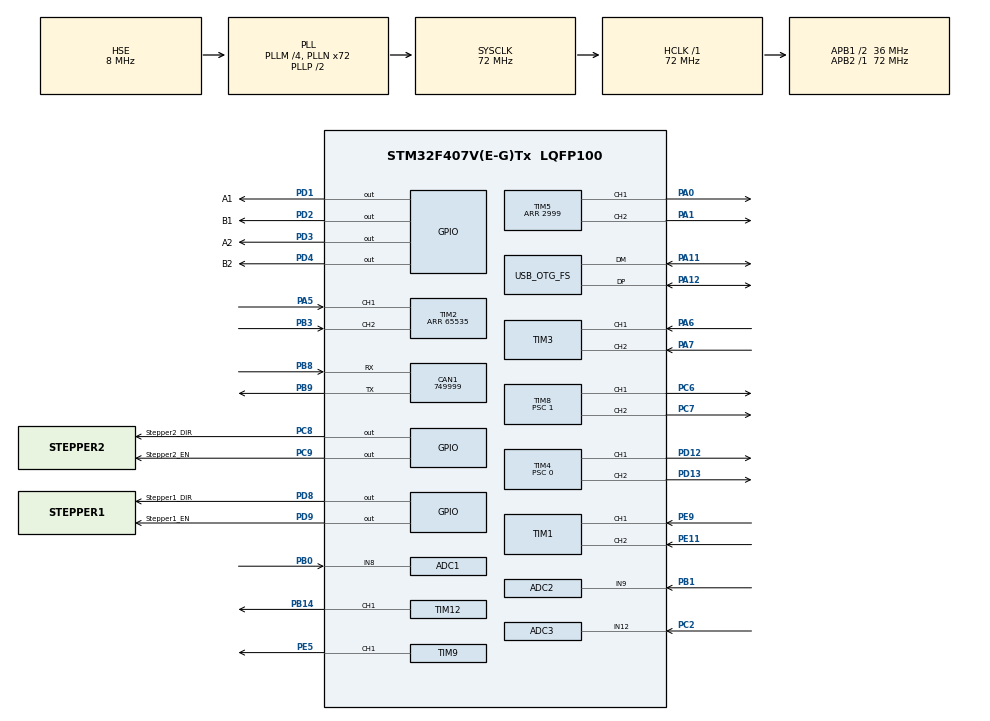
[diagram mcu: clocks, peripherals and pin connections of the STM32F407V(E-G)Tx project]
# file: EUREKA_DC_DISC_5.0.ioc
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ADC1.Channel-8\#ChannelRegularConversion=ADC_CHANNEL_8
ADC1.ContinuousConvMode=ENABLE
ADC1.DMAContinuousRequests=ENABLE
ADC1.NbrOfConversion=1
ADC1.NbrOfConversionFlag=1
ADC1.Rank-8\#ChannelRegularConversion=1
ADC1.SamplingTime-8\#ChannelRegularConversion=ADC_SAMPLETIME_3CYCLES
ADC1.master=1
ADC2.Channel-0\#ChannelRegularConversion=ADC_CHANNEL_9
ADC2.ContinuousConvMode=ENABLE
ADC2.DMAContinuousRequests=ENABLE
ADC2.NbrOfConversionFlag=1
ADC2.Rank-0\#ChannelRegularConversion=1
ADC2.SamplingTime-0\#ChannelRegularConversion=ADC_SAMPLETIME_3CYCLES
ADC2.ScanConvMode=ENABLE
ADC3.Channel-3\#ChannelRegularConversion=ADC_CHANNEL_12
ADC3.NbrOfConversionFlag=1
ADC3.Rank-3\#ChannelRegularConversion=1
ADC3.SamplingTime-3\#ChannelRegularConversion=ADC_SAMPLETIME_3CYCLES
CAN1.CalculateBaudRate=749999
CAN1.CalculateTimeBit=1333
CAN1.CalculateTimeQuantum=444.44444444444446
Dma.ADC1.0.Direction=DMA_PERIPH_TO_MEMORY
Dma.ADC1.0.FIFOMode=DMA_FIFOMODE_DISABLE
Dma.ADC1.0.Instance=DMA2_Stream0
Dma.ADC1.0.MemDataAlignment=DMA_MDATAALIGN_WORD
Dma.ADC1.0.MemInc=DMA_MINC_ENABLE
Dma.ADC1.0.Mode=DMA_CIRCULAR
Dma.ADC1.0.PeriphDataAlignment=DMA_PDATAALIGN_WORD
Dma.ADC1.0.PeriphInc=DMA_PINC_DISABLE
Dma.ADC1.0.Priority=DMA_PRIORITY_LOW
Dma.ADC2.1.Direction=DMA_PERIPH_TO_MEMORY
Dma.ADC2.1.FIFOMode=DMA_FIFOMODE_DISABLE
Dma.ADC2.1.Instance=DMA2_Stream2
Dma.ADC2.1.MemDataAlignment=DMA_MDATAALIGN_WORD
Dma.ADC2.1.MemInc=DMA_MINC_ENABLE
Dma.ADC2.1.Mode=DMA_CIRCULAR
Dma.ADC2.1.PeriphDataAlignment=DMA_PDATAALIGN_WORD
Dma.ADC2.1.PeriphInc=DMA_PINC_DISABLE
Dma.ADC2.1.Priority=DMA_PRIORITY_LOW
Dma.Request0=ADC1
Dma.Request1=ADC2
Mcu.Family=STM32F4
Mcu.Name=STM32F407V(E-G)Tx
Mcu.Package=LQFP100
NVIC.OTG_FS_IRQn=true\:0\:0\:false\:false\:true\:false\:true\:true
NVIC.PriorityGroup=NVIC_PRIORITYGROUP_0
NVIC.TIM7_IRQn=true\:0\:4\:false\:false\:true\:true\:true\:true
PA0-WKUP.Signal=S_TIM5_CH1
PA1.Signal=S_TIM5_CH2
PA11.Mode=Device_Only
PA11.Signal=USB_OTG_FS_DM
PA12.Mode=Device_Only
PA12.Signal=USB_OTG_FS_DP
PA13.GPIO_Label=SWDIO
PA13.Mode=Serial_Wire
PA13.Signal=SYS_JTMS-SWDIO
PA14.GPIO_Label=SWCLK
PA14.Mode=Serial_Wire
PA14.Signal=SYS_JTCK-SWCLK
PA5.Signal=S_TIM2_CH1_ETR
PA6.Signal=S_TIM3_CH1
PA7.Signal=S_TIM3_CH2
PB0.Signal=ADCx_IN8
PB1.Signal=ADCx_IN9
PB14.Signal=S_TIM12_CH1
PB3.Signal=S_TIM2_CH2
PB8.Mode=CAN_Activate
PB8.Signal=CAN1_RX
PB9.Mode=CAN_Activate
PB9.Signal=CAN1_TX
PC14-OSC32_IN.GPIO_Label=PC14-OSC32_IN
PC14-OSC32_IN.Mode=LSE-External-Oscillator
PC14-OSC32_IN.Signal=RCC_OSC32_IN
PC15-OSC32_OUT.GPIO_Label=PC15-OSC32_OUT
PC15-OSC32_OUT.Mode=LSE-External-Oscillator
PC15-OSC32_OUT.Signal=RCC_OSC32_OUT
PC2.Signal=ADCx_IN12
PC6.Signal=S_TIM8_CH1
PC7.Signal=S_TIM8_CH2
PC8.GPIO_Label=Stepper2_DIR
PC8.Signal=GPIO_Output
PC9.GPIO_Label=Stepper2_EN
PC9.Signal=GPIO_Output
PD1.GPIO_Label=A1
PD1.Signal=GPIO_Output
PD12.Signal=S_TIM4_CH1
PD13.Signal=S_TIM4_CH2
PD2.GPIO_Label=B1
PD2.Signal=GPIO_Output
PD3.GPIO_Label=A2
PD3.Signal=GPIO_Output
PD4.GPIO_Label=B2
PD4.Signal=GPIO_Output
PD8.GPIO_Label=Stepper1_DIR
PD8.Signal=GPIO_Output
PD9.GPIO_Label=Stepper1_EN
PD9.Signal=GPIO_Output
PE11.Signal=S_TIM1_CH2
PE5.Signal=S_TIM9_CH1
PE9.Signal=S_TIM1_CH1
PH0-OSC_IN.GPIO_Label=PH0-OSC_IN
PH0-OSC_IN.Mode=HSE-External-Oscillator
PH0-OSC_IN.Signal=RCC_OSC_IN
PH1-OSC_OUT.GPIO_Label=PH1-OSC_OUT
PH1-OSC_OUT.Mode=HSE-External-Oscillator
PH1-OSC_OUT.Signal=RCC_OSC_OUT
ProjectManager.HeapSize=0x200
ProjectManager.StackSize=0x400
ProjectManager.TargetToolchain=STM32CubeIDE
RCC.48MHZClocksFreq_Value=48000000
RCC.AHBFreq_Value=72000000
RCC.APB1CLKDivider=RCC_HCLK_DIV2
RCC.APB1Freq_Value=36000000
RCC.APB1TimFreq_Value=72000000
RCC.APB2Freq_Value=72000000
RCC.APB2TimFreq_Value=72000000
RCC.CortexFreq_Value=72000000
RCC.HCLKFreq_Value=72000000
RCC.HSE_VALUE=8000000
RCC.HSI_VALUE=16000000
RCC.PLLM=4
RCC.PLLN=72
RCC.PLLQ=3
RCC.SYSCLKFreq_VALUE=72000000
RCC.SYSCLKSource=RCC_SYSCLKSOURCE_PLLCLK
RCC.VCOOutputFreq_Value=144000000
RCC.VDD_VALUE=3.3
SH.ADCx_IN12.0=ADC3_IN12,IN12
SH.ADCx_IN8.0=ADC1_IN8,IN8
SH.ADCx_IN9.0=ADC2_IN9,IN9
SH.S_TIM12_CH1.0=TIM12_CH1,PWM Generation1 CH1
SH.S_TIM1_CH1.0=TIM1_CH1,Encoder_Interface
SH.S_TIM1_CH2.0=TIM1_CH2,Encoder_Interface
SH.S_TIM2_CH1_ETR.0=TIM2_CH1,Encoder_Interface
SH.S_TIM2_CH2.0=TIM2_CH2,Encoder_Interface
SH.S_TIM3_CH1.0=TIM3_CH1,Encoder_Interface
SH.S_TIM3_CH2.0=TIM3_CH2,Encoder_Interface
SH.S_TIM4_CH1.0=TIM4_CH1,PWM Generation1 CH1
SH.S_TIM4_CH2.0=TIM4_CH2,PWM Generation2 CH2
SH.S_TIM5_CH1.0=TIM5_CH1,PWM Generation1 CH1
SH.S_TIM5_CH2.0=TIM5_CH2,PWM Generation2 CH2
SH.S_TIM8_CH1.0=TIM8_CH1,PWM Generation1 CH1
SH.S_TIM8_CH2.0=TIM8_CH2,PWM Generation2 CH2
SH.S_TIM9_CH1.0=TIM9_CH1,PWM Generation1 CH1
TIM1.EncoderMode=TIM_ENCODERMODE_TI12
TIM10.AutoReloadPreload=TIM_AUTORELOAD_PRELOAD_ENABLE
TIM10.Prescaler=719
TIM12.Channel-PWM\ Generation1\ CH1=TIM_CHANNEL_1
TIM12.Prescaler=349
TIM2.EncoderMode=TIM_ENCODERMODE_TI12
TIM2.Period=65535
TIM4.Channel-PWM\ Generation1\ CH1=TIM_CHANNEL_1
TIM4.Channel-PWM\ Generation2\ CH2=TIM_CHANNEL_2
TIM4.Period=2999
TIM4.Prescaler=0
TIM4.Pulse-PWM\ Generation1\ CH1=0
TIM5.Channel-PWM\ Generation1\ CH1=TIM_CHANNEL_1
TIM5.Channel-PWM\ Generation2\ CH2=TIM_CHANNEL_2
TIM5.Period=2999
TIM5.Pulse-PWM\ Generation1\ CH1=0
TIM7.Period=7999
TIM7.Prescaler=449
TIM8.Channel-PWM\ Generation1\ CH1=TIM_CHANNEL_1
TIM8.Channel-PWM\ Generation2\ CH2=TIM_CHANNEL_2
TIM8.Period=2999
TIM8.Prescaler=1
TIM9.Channel-PWM\ Generation1\ CH1=TIM_CHANNEL_1
TIM9.Period=199
TIM9.Prescaler=349
TIM9.Pulse-PWM\ Generation1\ CH1=0
USB_DEVICE.CLASS_NAME_FS=CDC
USB_DEVICE.PRODUCT_STRING_CDC_FS=EUREKA_DC
USB_DEVICE.USBD_SELF_POWERED-CDC_FS=1
USB_DEVICE.VirtualMode-CDC_FS=Cdc
USB_DEVICE.VirtualModeFS=Cdc_FS
USB_OTG_FS.VirtualMode=Device_Only
USB_OTG_FS.low_power_enable=DISABLE
USB_OTG_FS.lpm_enable=DISABLE
VP_TIM10_VS_ClockSourceINT.Mode=Enable_Timer
VP_TIM4_VS_ClockSourceINT.Mode=Internal
VP_TIM5_VS_ClockSourceINT.Mode=Internal
VP_TIM7_VS_ClockSourceINT.Mode=Enable_Timer
VP_TIM8_VS_ClockSourceINT.Mode=Internal
VP_USB_DEVICE_VS_USB_DEVICE_CDC_FS.Mode=CDC_FS
board=STM32F407G-DISC1

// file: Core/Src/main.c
/* USER CODE BEGIN Header */
/**
 ******************************************************************************
 * @file           : main.c
 * @brief          : Main program body
 ******************************************************************************
 * @attention
 *
 * Copyright (c) 2025 STMicroelectronics.
 * All rights reserved.
 *
 * This software is licensed under terms that can be found in the LICENSE file
 * in the root directory of this software component.
 * If no LICENSE file comes with this software, it is provided AS-IS.
 *
 ******************************************************************************
 */
/* USER CODE END Header */
#include "main.h"
#include "usb_device.h"

/* USER CODE BEGIN Includes */
#include "usbd_cdc_if.h"
#include <string.h>
#include <stdio.h>
/* USER CODE END Includes */

ADC_HandleTypeDef hadc1;
ADC_HandleTypeDef hadc2;
ADC_HandleTypeDef hadc3;
DMA_HandleTypeDef hdma_adc1;
DMA_HandleTypeDef hdma_adc2;

CAN_HandleTypeDef hcan1;

TIM_HandleTypeDef htim1;
TIM_HandleTypeDef htim2;
TIM_HandleTypeDef htim3;
TIM_HandleTypeDef htim4;
TIM_HandleTypeDef htim5;
TIM_HandleTypeDef htim7;
TIM_HandleTypeDef htim8;
TIM_HandleTypeDef htim9;
TIM_HandleTypeDef htim10;
TIM_HandleTypeDef htim12;

/* USER CODE BEGIN PV */
//usb variables
char usbd_ch[2048];
char reply_buffer[2048];
int usb_flag;

int sscanf_flag = 0;
int usb_ctr = 0;

char command_message_format[] =
		"global: hrtb=%d, cm=%d, ps=%d, vl=%f, gp=%f, gi=%f, gd=%f\r\n\
wheel1: stp_pos=%f, stp_vel=%f, dc_vel=%f\r\n\
wheel2: stp_pos=%f, stp_vel=%f, dc_vel=%f\r\n\
gp: pulse=%f\r\n\
__end__";
char reply_message_format[] =
		"wheel1: stepper_pos=%2f,  dc_vel=%2f\r\n\
wheel2: stepper_pos=%2f,  dc_vel=%2f\r\n\
__end__";

float gain_p = 0.0075, gain_i = 0.005, gain_d = 0.0;
float voltage_limit = 0.5;

// system config variables
uint8_t control_mode = CONTROL_MODE_RAW;
uint8_t power_saving = POWER_SAVING_OFF;
uint8_t heartbeat = HEARTBEAT_OFF;

int heartbeat_counter = 0;

struct dc_motor dc[dc_len];

struct dc_motor gp_driver;

struct stepper stp[stp_len];

uint32_t adc1_buf[adc_buffer_len]; //AS5600 adc buffer
uint32_t adc2_buf[adc_buffer_len]; //AS5600 adc buffer
/* USER CODE END PV */

void SystemClock_Config(void);
static void MX_GPIO_Init(void);
static void MX_DMA_Init(void);
static void MX_TIM4_Init(void);
static void MX_TIM5_Init(void);
static void MX_TIM7_Init(void);
static void MX_ADC1_Init(void);
static void MX_TIM9_Init(void);
static void MX_TIM10_Init(void);
static void MX_TIM8_Init(void);
static void MX_CAN1_Init(void);
static void MX_TIM1_Init(void);
static void MX_TIM2_Init(void);
static void MX_TIM3_Init(void);
static void MX_TIM12_Init(void);
static void MX_ADC2_Init(void);
static void MX_ADC3_Init(void);

int main(void)
{

  /* MCU Configuration--------------------------------------------------------*/

  /* Reset of all peripherals, Initializes the Flash interface and the Systick. */
  HAL_Init();

  /* Configure the system clock */
  SystemClock_Config();

  /* Initialize all configured peripherals */
  MX_GPIO_Init();
  MX_DMA_Init();
  MX_TIM4_Init();
  MX_TIM5_Init();
  MX_TIM7_Init();
  MX_ADC1_Init();
  MX_TIM9_Init();
  MX_TIM10_Init();
  MX_USB_DEVICE_Init();
  MX_TIM8_Init();
  MX_CAN1_Init();
  MX_TIM1_Init();
  MX_TIM2_Init();
  MX_TIM3_Init();
  MX_TIM12_Init();
  MX_ADC2_Init();
  MX_ADC3_Init();
  /* USER CODE BEGIN 2 */
	int c;
	//lets initialize default values for all motors
	for (c = 0; c < dc_len; ++c) {
		dc[c].target_velocity = 0.0;
		dc[c].raw_velocity = 0.0;
		dc[c].filtered_velocity = 0.0;
		dc[c].filtered_velocity_prev = 0.0;
		dc[c].clock_prev = 0;
		dc[c].acceleration = 0.0;
		dc[c].acceleration_filtered = 0.0;
		dc[c].gear_ratio = 100;
		dc[c].encoder_resolution = 34;
		dc[c].low_pass_gain = 0.9;
		dc[c].gain_p = gain_p;
		dc[c].gain_i = gain_i;
		dc[c].gain_d = gain_d;
		dc[c].integral_fade_gain = 0.99;
		dc[c].integral_error = 0.0;
		dc[c].pulse = 0.0;
		dc[c].clock_timer = &htim10;
		dc[c].voltage_limit = 0.95;
	}
	dc[0].pwm_timer = &htim4;
	dc[0].pwm_channel = TIM_CHANNEL_2;
	dc[0].encoder_timer = &htim2;
	dc[0].velocity_correction_gain = -0.5;
	dc[0].A1_port = A1_GPIO_Port;
	dc[0].A1_pin = A1_Pin;
	dc[0].A2_port = A2_GPIO_Port;
	dc[0].A2_pin = A2_Pin;

	dc[1].pwm_timer = &htim4;
	dc[1].pwm_channel = TIM_CHANNEL_1;
	dc[1].encoder_timer = &htim1;
	dc[1].velocity_correction_gain = -0.5;
	dc[1].A1_port = B1_GPIO_Port;
	dc[1].A1_pin = B1_Pin;
	dc[1].A2_port = B2_GPIO_Port;
	dc[1].A2_pin = B2_Pin;

	//general purpose driver
	gp_driver.pwm_timer = &htim8;
	gp_driver.pulse = 0.0;
	HAL_TIM_PWM_Start(&htim8, TIM_CHANNEL_1);			// BTS3_LPWM
	HAL_TIM_PWM_Start(&htim8, TIM_CHANNEL_2);			// BTS3_RPWM

	for (c = 0; c < stp_len; ++c) {
		stp[c].enable = 1;
		stp[c].hold_position_tolerance = 1.0;
		stp[c].drive_position_tolerance = 0.5;
		stp[c].target_position = 0.0;
		stp[c].target_velocity = 0.0;
	}
	stp[0].dir_port = Stepper1_DIR_GPIO_Port;
	stp[0].dir_pin = Stepper1_DIR_Pin;
	stp[0].en_port = Stepper1_EN_GPIO_Port;
	stp[0].en_pin = Stepper1_EN_Pin;
	stp[0].timer = &htim9;
	stp[0].raw_angle_offset = /*-30;//*/300;
	stp[0].adc = &hadc2;
	stp[0].channel = TIM_CHANNEL_1;
	stp[0].gear_ratio = 100.0;
	stp[0].direction_fix = /*1;//*/-1;

	stp[1].dir_port = Stepper2_DIR_GPIO_Port;
	stp[1].dir_pin = Stepper2_DIR_Pin;
	stp[1].en_port = Stepper2_EN_GPIO_Port;
	stp[1].en_pin = Stepper2_EN_Pin;
	stp[1].timer = &htim12;
	stp[1].raw_angle_offset = /*-1080;//*/ -350;
	stp[1].adc = &hadc1;
	stp[1].channel = TIM_CHANNEL_1;
	stp[1].gear_ratio = 100.0;
	stp[1].direction_fix = /*1;//*/-1;

	HAL_TIM_Base_Start(&htim10);
	HAL_TIM_Base_Start_IT(&htim7);
	for (c = 0; c < dc_len; ++c) {
		dc_init(&dc[c]);
		dc_calculate_period(&dc[c]);
	}
	for (c = 0; c < stp_len; ++c) {
		stepper_init(&stp[c]);
	}
	HAL_Delay(100);
  /* USER CODE END 2 */

  /* Infinite loop */
  /* USER CODE BEGIN WHILE */
	while (1) {
		if (usb_flag > 0) {
			heartbeat_counter = 0;
			usb_ctr = strlen(usbd_ch);
			sscanf_flag = sscanf(usbd_ch, command_message_format, &heartbeat,
					&control_mode, &power_saving, &voltage_limit, &gain_p, &gain_i, &gain_d,
					&(stp[0].target_position), &(stp[0].target_velocity), &(dc[0].target_velocity),
					&(stp[1].target_position), &(stp[1].target_velocity), &(dc[1].target_velocity),
					&(gp_driver.pulse));
			//	vel_2_targ = vel_3_targ;
			sprintf(reply_buffer, reply_message_format, stp[0].current_position, dc[0].raw_velocity,
					stp[1].current_position, dc[1].raw_velocity);
			CDC_Transmit_FS((uint8_t*) reply_buffer, strlen(reply_buffer));

			usb_flag = 0;
			for (c = 0; c < dc_len; ++c) {
					dc[c].gain_p = gain_p;
					dc[c].gain_i = gain_i;
					dc[c].gain_d = gain_d;
			}

		}
    /* USER CODE END WHILE */

	}
}

void SystemClock_Config(void)
{
  RCC_OscInitTypeDef RCC_OscInitStruct = {0};
  RCC_ClkInitTypeDef RCC_ClkInitStruct = {0};

  /** Configure the main internal regulator output voltage
  */
  __HAL_RCC_PWR_CLK_ENABLE();
  __HAL_PWR_VOLTAGESCALING_CONFIG(PWR_REGULATOR_VOLTAGE_SCALE1);

  /** Initializes the RCC Oscillators according to the specified parameters
  * in the RCC_OscInitTypeDef structure.
  */
  RCC_OscInitStruct.OscillatorType = RCC_OSCILLATORTYPE_HSE;
  RCC_OscInitStruct.HSEState = RCC_HSE_ON;
  RCC_OscInitStruct.PLL.PLLState = RCC_PLL_ON;
  RCC_OscInitStruct.PLL.PLLSource = RCC_PLLSOURCE_HSE;
  RCC_OscInitStruct.PLL.PLLM = 4;
  RCC_OscInitStruct.PLL.PLLN = 72;
  RCC_OscInitStruct.PLL.PLLP = RCC_PLLP_DIV2;
  RCC_OscInitStruct.PLL.PLLQ = 3;
  if (HAL_RCC_OscConfig(&RCC_OscInitStruct) != HAL_OK)
  {
    Error_Handler();
  }

  /** Initializes the CPU, AHB and APB buses clocks
  */
  RCC_ClkInitStruct.ClockType = RCC_CLOCKTYPE_HCLK|RCC_CLOCKTYPE_SYSCLK
                              |RCC_CLOCKTYPE_PCLK1|RCC_CLOCKTYPE_PCLK2;
  RCC_ClkInitStruct.SYSCLKSource = RCC_SYSCLKSOURCE_PLLCLK;
  RCC_ClkInitStruct.AHBCLKDivider = RCC_SYSCLK_DIV1;
  RCC_ClkInitStruct.APB1CLKDivider = RCC_HCLK_DIV2;
  RCC_ClkInitStruct.APB2CLKDivider = RCC_HCLK_DIV1;

  if (HAL_RCC_ClockConfig(&RCC_ClkInitStruct, FLASH_LATENCY_2) != HAL_OK)
  {
    Error_Handler();
  }
}

static void MX_ADC1_Init(void)
{

  ADC_ChannelConfTypeDef sConfig = {0};

  /** Configure the global features of the ADC (Clock, Resolution, Data Alignment and number of conversion)
  */
  hadc1.Instance = ADC1;
  hadc1.Init.ClockPrescaler = ADC_CLOCK_SYNC_PCLK_DIV2;
  hadc1.Init.Resolution = ADC_RESOLUTION_12B;
  hadc1.Init.ScanConvMode = DISABLE;
  hadc1.Init.ContinuousConvMode = ENABLE;
  hadc1.Init.DiscontinuousConvMode = DISABLE;
  hadc1.Init.ExternalTrigConvEdge = ADC_EXTERNALTRIGCONVEDGE_NONE;
  hadc1.Init.ExternalTrigConv = ADC_SOFTWARE_START;
  hadc1.Init.DataAlign = ADC_DATAALIGN_RIGHT;
  hadc1.Init.NbrOfConversion = 1;
  hadc1.Init.DMAContinuousRequests = ENABLE;
  hadc1.Init.EOCSelection = ADC_EOC_SINGLE_CONV;
  if (HAL_ADC_Init(&hadc1) != HAL_OK)
  {
    Error_Handler();
  }

  /** Configure for the selected ADC regular channel its corresponding rank in the sequencer and its sample time.
  */
  sConfig.Channel = ADC_CHANNEL_8;
  sConfig.Rank = 1;
  sConfig.SamplingTime = ADC_SAMPLETIME_3CYCLES;
  if (HAL_ADC_ConfigChannel(&hadc1, &sConfig) != HAL_OK)
  {
    Error_Handler();
  }

}

static void MX_ADC2_Init(void)
{

  ADC_ChannelConfTypeDef sConfig = {0};

  /** Configure the global features of the ADC (Clock, Resolution, Data Alignment and number of conversion)
  */
  hadc2.Instance = ADC2;
  hadc2.Init.ClockPrescaler = ADC_CLOCK_SYNC_PCLK_DIV2;
  hadc2.Init.Resolution = ADC_RESOLUTION_12B;
  hadc2.Init.ScanConvMode = ENABLE;
  hadc2.Init.ContinuousConvMode = ENABLE;
  hadc2.Init.DiscontinuousConvMode = DISABLE;
  hadc2.Init.ExternalTrigConvEdge = ADC_EXTERNALTRIGCONVEDGE_NONE;
  hadc2.Init.ExternalTrigConv = ADC_SOFTWARE_START;
  hadc2.Init.DataAlign = ADC_DATAALIGN_RIGHT;
  hadc2.Init.NbrOfConversion = 1;
  hadc2.Init.DMAContinuousRequests = ENABLE;
  hadc2.Init.EOCSelection = ADC_EOC_SINGLE_CONV;
  if (HAL_ADC_Init(&hadc2) != HAL_OK)
  {
    Error_Handler();
  }

  /** Configure for the selected ADC regular channel its corresponding rank in the sequencer and its sample time.
  */
  sConfig.Channel = ADC_CHANNEL_9;
  sConfig.Rank = 1;
  sConfig.SamplingTime = ADC_SAMPLETIME_3CYCLES;
  if (HAL_ADC_ConfigChannel(&hadc2, &sConfig) != HAL_OK)
  {
    Error_Handler();
  }

}

static void MX_ADC3_Init(void)
{

  ADC_ChannelConfTypeDef sConfig = {0};

  /** Configure the global features of the ADC (Clock, Resolution, Data Alignment and number of conversion)
  */
  hadc3.Instance = ADC3;
  hadc3.Init.ClockPrescaler = ADC_CLOCK_SYNC_PCLK_DIV2;
  hadc3.Init.Resolution = ADC_RESOLUTION_12B;
  hadc3.Init.ScanConvMode = DISABLE;
  hadc3.Init.ContinuousConvMode = DISABLE;
  hadc3.Init.DiscontinuousConvMode = DISABLE;
  hadc3.Init.ExternalTrigConvEdge = ADC_EXTERNALTRIGCONVEDGE_NONE;
  hadc3.Init.ExternalTrigConv = ADC_SOFTWARE_START;
  hadc3.Init.DataAlign = ADC_DATAALIGN_RIGHT;
  hadc3.Init.NbrOfConversion = 1;
  hadc3.Init.DMAContinuousRequests = DISABLE;
  hadc3.Init.EOCSelection = ADC_EOC_SINGLE_CONV;
  if (HAL_ADC_Init(&hadc3) != HAL_OK)
  {
    Error_Handler();
  }

  /** Configure for the selected ADC regular channel its corresponding rank in the sequencer and its sample time.
  */
  sConfig.Channel = ADC_CHANNEL_12;
  sConfig.Rank = 1;
  sConfig.SamplingTime = ADC_SAMPLETIME_3CYCLES;
  if (HAL_ADC_ConfigChannel(&hadc3, &sConfig) != HAL_OK)
  {
    Error_Handler();
  }

}

static void MX_CAN1_Init(void)
{

  hcan1.Instance = CAN1;
  hcan1.Init.Prescaler = 16;
  hcan1.Init.Mode = CAN_MODE_NORMAL;
  hcan1.Init.SyncJumpWidth = CAN_SJW_1TQ;
  hcan1.Init.TimeSeg1 = CAN_BS1_1TQ;
  hcan1.Init.TimeSeg2 = CAN_BS2_1TQ;
  hcan1.Init.TimeTriggeredMode = DISABLE;
  hcan1.Init.AutoBusOff = DISABLE;
  hcan1.Init.AutoWakeUp = DISABLE;
  hcan1.Init.AutoRetransmission = DISABLE;
  hcan1.Init.ReceiveFifoLocked = DISABLE;
  hcan1.Init.TransmitFifoPriority = DISABLE;
  if (HAL_CAN_Init(&hcan1) != HAL_OK)
  {
    Error_Handler();
  }

}

static void MX_TIM1_Init(void)
{

  TIM_Encoder_InitTypeDef sConfig = {0};
  TIM_MasterConfigTypeDef sMasterConfig = {0};

  htim1.Instance = TIM1;
  htim1.Init.Prescaler = 0;
  htim1.Init.CounterMode = TIM_COUNTERMODE_UP;
  htim1.Init.Period = 65535;
  htim1.Init.ClockDivision = TIM_CLOCKDIVISION_DIV1;
  htim1.Init.RepetitionCounter = 0;
  htim1.Init.AutoReloadPreload = TIM_AUTORELOAD_PRELOAD_DISABLE;
  sConfig.EncoderMode = TIM_ENCODERMODE_TI12;
  sConfig.IC1Polarity = TIM_ICPOLARITY_RISING;
  sConfig.IC1Selection = TIM_ICSELECTION_DIRECTTI;
  sConfig.IC1Prescaler = TIM_ICPSC_DIV1;
  sConfig.IC1Filter = 0;
  sConfig.IC2Polarity = TIM_ICPOLARITY_RISING;
  sConfig.IC2Selection = TIM_ICSELECTION_DIRECTTI;
  sConfig.IC2Prescaler = TIM_ICPSC_DIV1;
  sConfig.IC2Filter = 0;
  if (HAL_TIM_Encoder_Init(&htim1, &sConfig) != HAL_OK)
  {
    Error_Handler();
  }
  sMasterConfig.MasterOutputTrigger = TIM_TRGO_RESET;
  sMasterConfig.MasterSlaveMode = TIM_MASTERSLAVEMODE_DISABLE;
  if (HAL_TIMEx_MasterConfigSynchronization(&htim1, &sMasterConfig) != HAL_OK)
  {
    Error_Handler();
  }

}

static void MX_TIM2_Init(void)
{

  TIM_Encoder_InitTypeDef sConfig = {0};
  TIM_MasterConfigTypeDef sMasterConfig = {0};

  htim2.Instance = TIM2;
  htim2.Init.Prescaler = 0;
  htim2.Init.CounterMode = TIM_COUNTERMODE_UP;
  htim2.Init.Period = 65535;
  htim2.Init.ClockDivision = TIM_CLOCKDIVISION_DIV1;
  htim2.Init.AutoReloadPreload = TIM_AUTORELOAD_PRELOAD_DISABLE;
  sConfig.EncoderMode = TIM_ENCODERMODE_TI12;
  sConfig.IC1Polarity = TIM_ICPOLARITY_RISING;
  sConfig.IC1Selection = TIM_ICSELECTION_DIRECTTI;
  sConfig.IC1Prescaler = TIM_ICPSC_DIV1;
  sConfig.IC1Filter = 0;
  sConfig.IC2Polarity = TIM_ICPOLARITY_RISING;
  sConfig.IC2Selection = TIM_ICSELECTION_DIRECTTI;
  sConfig.IC2Prescaler = TIM_ICPSC_DIV1;
  sConfig.IC2Filter = 0;
  if (HAL_TIM_Encoder_Init(&htim2, &sConfig) != HAL_OK)
  {
    Error_Handler();
  }
  sMasterConfig.MasterOutputTrigger = TIM_TRGO_RESET;
  sMasterConfig.MasterSlaveMode = TIM_MASTERSLAVEMODE_DISABLE;
  if (HAL_TIMEx_MasterConfigSynchronization(&htim2, &sMasterConfig) != HAL_OK)
  {
    Error_Handler();
  }

}

static void MX_TIM3_Init(void)
{

  TIM_Encoder_InitTypeDef sConfig = {0};
  TIM_MasterConfigTypeDef sMasterConfig = {0};

  htim3.Instance = TIM3;
  htim3.Init.Prescaler = 0;
  htim3.Init.CounterMode = TIM_COUNTERMODE_UP;
  htim3.Init.Period = 65535;
  htim3.Init.ClockDivision = TIM_CLOCKDIVISION_DIV1;
  htim3.Init.AutoReloadPreload = TIM_AUTORELOAD_PRELOAD_DISABLE;
  sConfig.EncoderMode = TIM_ENCODERMODE_TI1;
  sConfig.IC1Polarity = TIM_ICPOLARITY_RISING;
  sConfig.IC1Selection = TIM_ICSELECTION_DIRECTTI;
  sConfig.IC1Prescaler = TIM_ICPSC_DIV1;
  sConfig.IC1Filter = 0;
  sConfig.IC2Polarity = TIM_ICPOLARITY_RISING;
  sConfig.IC2Selection = TIM_ICSELECTION_DIRECTTI;
  sConfig.IC2Prescaler = TIM_ICPSC_DIV1;
  sConfig.IC2Filter = 0;
  if (HAL_TIM_Encoder_Init(&htim3, &sConfig) != HAL_OK)
  {
    Error_Handler();
  }
  sMasterConfig.MasterOutputTrigger = TIM_TRGO_RESET;
  sMasterConfig.MasterSlaveMode = TIM_MASTERSLAVEMODE_DISABLE;
  if (HAL_TIMEx_MasterConfigSynchronization(&htim3, &sMasterConfig) != HAL_OK)
  {
    Error_Handler();
  }

}

static void MX_TIM4_Init(void)
{

  TIM_ClockConfigTypeDef sClockSourceConfig = {0};
  TIM_MasterConfigTypeDef sMasterConfig = {0};
  TIM_OC_InitTypeDef sConfigOC = {0};

  htim4.Instance = TIM4;
  htim4.Init.Prescaler = 0;
  htim4.Init.CounterMode = TIM_COUNTERMODE_UP;
  htim4.Init.Period = 2999;
  htim4.Init.ClockDivision = TIM_CLOCKDIVISION_DIV1;
  htim4.Init.AutoReloadPreload = TIM_AUTORELOAD_PRELOAD_DISABLE;
  if (HAL_TIM_Base_Init(&htim4) != HAL_OK)
  {
    Error_Handler();
  }
  sClockSourceConfig.ClockSource = TIM_CLOCKSOURCE_INTERNAL;
  if (HAL_TIM_ConfigClockSource(&htim4, &sClockSourceConfig) != HAL_OK)
  {
    Error_Handler();
  }
  if (HAL_TIM_PWM_Init(&htim4) != HAL_OK)
  {
    Error_Handler();
  }
  sMasterConfig.MasterOutputTrigger = TIM_TRGO_RESET;
  sMasterConfig.MasterSlaveMode = TIM_MASTERSLAVEMODE_DISABLE;
  if (HAL_TIMEx_MasterConfigSynchronization(&htim4, &sMasterConfig) != HAL_OK)
  {
    Error_Handler();
  }
  sConfigOC.OCMode = TIM_OCMODE_PWM1;
  sConfigOC.Pulse = 0;
  sConfigOC.OCPolarity = TIM_OCPOLARITY_HIGH;
  sConfigOC.OCFastMode = TIM_OCFAST_DISABLE;
  if (HAL_TIM_PWM_ConfigChannel(&htim4, &sConfigOC, TIM_CHANNEL_1) != HAL_OK)
  {
    Error_Handler();
  }
  if (HAL_TIM_PWM_ConfigChannel(&htim4, &sConfigOC, TIM_CHANNEL_2) != HAL_OK)
  {
    Error_Handler();
  }
  HAL_TIM_MspPostInit(&htim4);

}

static void MX_TIM5_Init(void)
{

  TIM_ClockConfigTypeDef sClockSourceConfig = {0};
  TIM_MasterConfigTypeDef sMasterConfig = {0};
  TIM_OC_InitTypeDef sConfigOC = {0};

  htim5.Instance = TIM5;
  htim5.Init.Prescaler = 0;
  htim5.Init.CounterMode = TIM_COUNTERMODE_UP;
  htim5.Init.Period = 2999;
  htim5.Init.ClockDivision = TIM_CLOCKDIVISION_DIV1;
  htim5.Init.AutoReloadPreload = TIM_AUTORELOAD_PRELOAD_DISABLE;
  if (HAL_TIM_Base_Init(&htim5) != HAL_OK)
  {
    Error_Handler();
  }
  sClockSourceConfig.ClockSource = TIM_CLOCKSOURCE_INTERNAL;
  if (HAL_TIM_ConfigClockSource(&htim5, &sClockSourceConfig) != HAL_OK)
  {
    Error_Handler();
  }
  if (HAL_TIM_PWM_Init(&htim5) != HAL_OK)
  {
    Error_Handler();
  }
  sMasterConfig.MasterOutputTrigger = TIM_TRGO_RESET;
  sMasterConfig.MasterSlaveMode = TIM_MASTERSLAVEMODE_DISABLE;
  if (HAL_TIMEx_MasterConfigSynchronization(&htim5, &sMasterConfig) != HAL_OK)
  {
    Error_Handler();
  }
  sConfigOC.OCMode = TIM_OCMODE_PWM1;
  sConfigOC.Pulse = 0;
  sConfigOC.OCPolarity = TIM_OCPOLARITY_HIGH;
  sConfigOC.OCFastMode = TIM_OCFAST_DISABLE;
  if (HAL_TIM_PWM_ConfigChannel(&htim5, &sConfigOC, TIM_CHANNEL_1) != HAL_OK)
  {
    Error_Handler();
  }
  if (HAL_TIM_PWM_ConfigChannel(&htim5, &sConfigOC, TIM_CHANNEL_2) != HAL_OK)
  {
    Error_Handler();
  }
  HAL_TIM_MspPostInit(&htim5);

}

static void MX_TIM7_Init(void)
{

  TIM_MasterConfigTypeDef sMasterConfig = {0};

  htim7.Instance = TIM7;
  htim7.Init.Prescaler = 449;
  htim7.Init.CounterMode = TIM_COUNTERMODE_UP;
  htim7.Init.Period = 7999;
  htim7.Init.AutoReloadPreload = TIM_AUTORELOAD_PRELOAD_DISABLE;
  if (HAL_TIM_Base_Init(&htim7) != HAL_OK)
  {
    Error_Handler();
  }
  sMasterConfig.MasterOutputTrigger = TIM_TRGO_RESET;
  sMasterConfig.MasterSlaveMode = TIM_MASTERSLAVEMODE_DISABLE;
  if (HAL_TIMEx_MasterConfigSynchronization(&htim7, &sMasterConfig) != HAL_OK)
  {
    Error_Handler();
  }

}

static void MX_TIM8_Init(void)
{

  TIM_ClockConfigTypeDef sClockSourceConfig = {0};
  TIM_MasterConfigTypeDef sMasterConfig = {0};
  TIM_OC_InitTypeDef sConfigOC = {0};
  TIM_BreakDeadTimeConfigTypeDef sBreakDeadTimeConfig = {0};

  htim8.Instance = TIM8;
  htim8.Init.Prescaler = 1;
  htim8.Init.CounterMode = TIM_COUNTERMODE_UP;
  htim8.Init.Period = 2999;
  htim8.Init.ClockDivision = TIM_CLOCKDIVISION_DIV1;
  htim8.Init.RepetitionCounter = 0;
  htim8.Init.AutoReloadPreload = TIM_AUTORELOAD_PRELOAD_DISABLE;
  if (HAL_TIM_Base_Init(&htim8) != HAL_OK)
  {
    Error_Handler();
  }
  sClockSourceConfig.ClockSource = TIM_CLOCKSOURCE_INTERNAL;
  if (HAL_TIM_ConfigClockSource(&htim8, &sClockSourceConfig) != HAL_OK)
  {
    Error_Handler();
  }
  if (HAL_TIM_PWM_Init(&htim8) != HAL_OK)
  {
    Error_Handler();
  }
  sMasterConfig.MasterOutputTrigger = TIM_TRGO_RESET;
  sMasterConfig.MasterSlaveMode = TIM_MASTERSLAVEMODE_DISABLE;
  if (HAL_TIMEx_MasterConfigSynchronization(&htim8, &sMasterConfig) != HAL_OK)
  {
    Error_Handler();
  }
  sConfigOC.OCMode = TIM_OCMODE_PWM1;
  sConfigOC.Pulse = 0;
  sConfigOC.OCPolarity = TIM_OCPOLARITY_HIGH;
  sConfigOC.OCNPolarity = TIM_OCNPOLARITY_HIGH;
  sConfigOC.OCFastMode = TIM_OCFAST_DISABLE;
  sConfigOC.OCIdleState = TIM_OCIDLESTATE_RESET;
  sConfigOC.OCNIdleState = TIM_OCNIDLESTATE_RESET;
  if (HAL_TIM_PWM_ConfigChannel(&htim8, &sConfigOC, TIM_CHANNEL_1) != HAL_OK)
  {
    Error_Handler();
  }
  if (HAL_TIM_PWM_ConfigChannel(&htim8, &sConfigOC, TIM_CHANNEL_2) != HAL_OK)
  {
    Error_Handler();
  }
  sBreakDeadTimeConfig.OffStateRunMode = TIM_OSSR_DISABLE;
  sBreakDeadTimeConfig.OffStateIDLEMode = TIM_OSSI_DISABLE;
  sBreakDeadTimeConfig.LockLevel = TIM_LOCKLEVEL_OFF;
  sBreakDeadTimeConfig.DeadTime = 0;
  sBreakDeadTimeConfig.BreakState = TIM_BREAK_DISABLE;
  sBreakDeadTimeConfig.BreakPolarity = TIM_BREAKPOLARITY_HIGH;
  sBreakDeadTimeConfig.AutomaticOutput = TIM_AUTOMATICOUTPUT_DISABLE;
  if (HAL_TIMEx_ConfigBreakDeadTime(&htim8, &sBreakDeadTimeConfig) != HAL_OK)
  {
    Error_Handler();
  }
  HAL_TIM_MspPostInit(&htim8);

}

static void MX_TIM9_Init(void)
{

  TIM_OC_InitTypeDef sConfigOC = {0};

  htim9.Instance = TIM9;
  htim9.Init.Prescaler = 349;
  htim9.Init.CounterMode = TIM_COUNTERMODE_UP;
  htim9.Init.Period = 199;
  htim9.Init.ClockDivision = TIM_CLOCKDIVISION_DIV1;
  htim9.Init.AutoReloadPreload = TIM_AUTORELOAD_PRELOAD_DISABLE;
  if (HAL_TIM_PWM_Init(&htim9) != HAL_OK)
  {
    Error_Handler();
  }
  sConfigOC.OCMode = TIM_OCMODE_PWM1;
  sConfigOC.Pulse = 0;
  sConfigOC.OCPolarity = TIM_OCPOLARITY_HIGH;
  sConfigOC.OCFastMode = TIM_OCFAST_DISABLE;
  if (HAL_TIM_PWM_ConfigChannel(&htim9, &sConfigOC, TIM_CHANNEL_1) != HAL_OK)
  {
    Error_Handler();
  }
  HAL_TIM_MspPostInit(&htim9);

}

static void MX_TIM10_Init(void)
{

  htim10.Instance = TIM10;
  htim10.Init.Prescaler = 719;
  htim10.Init.CounterMode = TIM_COUNTERMODE_UP;
  htim10.Init.Period = 65535;
  htim10.Init.ClockDivision = TIM_CLOCKDIVISION_DIV1;
  htim10.Init.AutoReloadPreload = TIM_AUTORELOAD_PRELOAD_ENABLE;
  if (HAL_TIM_Base_Init(&htim10) != HAL_OK)
  {
    Error_Handler();
  }

}

static void MX_TIM12_Init(void)
{

  TIM_OC_InitTypeDef sConfigOC = {0};

  htim12.Instance = TIM12;
  htim12.Init.Prescaler = 349 ;
  htim12.Init.CounterMode = TIM_COUNTERMODE_UP;
  htim12.Init.Period = 65535;
  htim12.Init.ClockDivision = TIM_CLOCKDIVISION_DIV1;
  htim12.Init.AutoReloadPreload = TIM_AUTORELOAD_PRELOAD_DISABLE;
  if (HAL_TIM_PWM_Init(&htim12) != HAL_OK)
  {
    Error_Handler();
  }
  sConfigOC.OCMode = TIM_OCMODE_PWM1;
  sConfigOC.Pulse = 0;
  sConfigOC.OCPolarity = TIM_OCPOLARITY_HIGH;
  sConfigOC.OCFastMode = TIM_OCFAST_DISABLE;
  if (HAL_TIM_PWM_ConfigChannel(&htim12, &sConfigOC, TIM_CHANNEL_1) != HAL_OK)
  {
    Error_Handler();
  }
  HAL_TIM_MspPostInit(&htim12);

}

static void MX_DMA_Init(void)
{

  /* DMA controller clock enable */
  __HAL_RCC_DMA2_CLK_ENABLE();

}

static void MX_GPIO_Init(void)
{
  GPIO_InitTypeDef GPIO_InitStruct = {0};

  /* GPIO Ports Clock Enable */
  __HAL_RCC_GPIOE_CLK_ENABLE();
  __HAL_RCC_GPIOC_CLK_ENABLE();
  __HAL_RCC_GPIOH_CLK_ENABLE();
  __HAL_RCC_GPIOA_CLK_ENABLE();
  __HAL_RCC_GPIOB_CLK_ENABLE();
  __HAL_RCC_GPIOD_CLK_ENABLE();

  /*Configure GPIO pin Output Level */
  HAL_GPIO_WritePin(GPIOD, Stepper1_DIR_Pin|Stepper1_EN_Pin|A1_Pin|B1_Pin
                          |A2_Pin|B2_Pin, GPIO_PIN_RESET);

  /*Configure GPIO pin Output Level */
  HAL_GPIO_WritePin(GPIOC, Stepper2_DIR_Pin|Stepper2_EN_Pin, GPIO_PIN_RESET);

  /*Configure GPIO pins : Stepper1_DIR_Pin Stepper1_EN_Pin A1_Pin B1_Pin
                           A2_Pin B2_Pin */
  GPIO_InitStruct.Pin = Stepper1_DIR_Pin|Stepper1_EN_Pin|A1_Pin|B1_Pin
                          |A2_Pin|B2_Pin;
  GPIO_InitStruct.Mode = GPIO_MODE_OUTPUT_PP;
  GPIO_InitStruct.Pull = GPIO_NOPULL;
  GPIO_InitStruct.Speed = GPIO_SPEED_FREQ_LOW;
  HAL_GPIO_Init(GPIOD, &GPIO_InitStruct);

  /*Configure GPIO pins : Stepper2_DIR_Pin Stepper2_EN_Pin */
  GPIO_InitStruct.Pin = Stepper2_DIR_Pin|Stepper2_EN_Pin;
  GPIO_InitStruct.Mode = GPIO_MODE_OUTPUT_PP;
  GPIO_InitStruct.Pull = GPIO_NOPULL;
  GPIO_InitStruct.Speed = GPIO_SPEED_FREQ_LOW;
  HAL_GPIO_Init(GPIOC, &GPIO_InitStruct);

}

void Error_Handler(void)
{
	__disable_irq();
	while (1) {
	}
}
